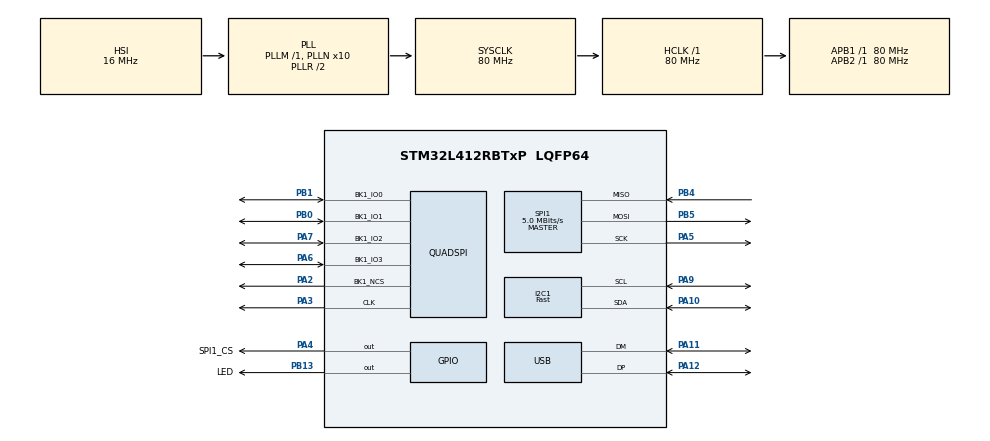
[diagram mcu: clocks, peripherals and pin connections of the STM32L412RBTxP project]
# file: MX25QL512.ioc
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I2C1.I2C_Speed_Mode=I2C_Fast
I2C1.Timing=0x00702991
Mcu.Family=STM32L4
Mcu.Name=STM32L412RBTxP
Mcu.Package=LQFP64
NVIC.PriorityGroup=NVIC_PRIORITYGROUP_4
NVIC.USB_IRQn=true\:0\:0\:false\:false\:true\:false\:true\:true
PA10.Mode=I2C
PA10.Signal=I2C1_SDA
PA11.Mode=Device
PA11.Signal=USB_DM
PA12.Mode=Device
PA12.Signal=USB_DP
PA13\ (JTMS/SWDIO).Mode=Trace_Asynchronous_SW
PA13\ (JTMS/SWDIO).Signal=SYS_JTMS-SWDIO
PA14\ (JTCK/SWCLK).Mode=Trace_Asynchronous_SW
PA14\ (JTCK/SWCLK).Signal=SYS_JTCK-SWCLK
PA2.Mode=Single Bank 1
PA2.Signal=QUADSPI_BK1_NCS
PA3.Mode=Single Bank 1
PA3.Signal=QUADSPI_CLK
PA4.GPIO_Label=SPI1_CS
PA4.GPIO_Speed=GPIO_SPEED_FREQ_HIGH
PA4.PinState=GPIO_PIN_SET
PA4.Signal=GPIO_Output
PA5.Mode=Full_Duplex_Master
PA5.Signal=SPI1_SCK
PA6.Mode=Single Bank 1
PA6.Signal=QUADSPI_BK1_IO3
PA7.Mode=Single Bank 1
PA7.Signal=QUADSPI_BK1_IO2
PA9.Mode=I2C
PA9.Signal=I2C1_SCL
PB0.Mode=Single Bank 1
PB0.Signal=QUADSPI_BK1_IO1
PB1.Mode=Single Bank 1
PB1.Signal=QUADSPI_BK1_IO0
PB13.GPIO_Label=LED
PB13.PinState=GPIO_PIN_SET
PB13.Signal=GPIO_Output
PB3\ (JTDO/TRACESWO).Mode=Trace_Asynchronous_SW
PB3\ (JTDO/TRACESWO).Signal=SYS_JTDO-SWO
PB4\ (NJTRST).Mode=Full_Duplex_Master
PB4\ (NJTRST).Signal=SPI1_MISO
PB5.Mode=Full_Duplex_Master
PB5.Signal=SPI1_MOSI
PC14-OSC32_IN\ (PC14).Mode=LSE-External-Oscillator
PC14-OSC32_IN\ (PC14).Signal=RCC_OSC32_IN
PC15-OSC32_OUT\ (PC15).Mode=LSE-External-Oscillator
PC15-OSC32_OUT\ (PC15).Signal=RCC_OSC32_OUT
PH0-OSC_IN\ (PH0).Mode=HSE-External-Oscillator
PH0-OSC_IN\ (PH0).Signal=RCC_OSC_IN
PH1-OSC_OUT\ (PH1).Mode=HSE-External-Oscillator
PH1-OSC_OUT\ (PH1).Signal=RCC_OSC_OUT
ProjectManager.HeapSize=0x200
ProjectManager.StackSize=0x400
ProjectManager.TargetToolchain=STM32CubeIDE
QUADSPI.ChipSelectHighTime=QSPI_CS_HIGH_TIME_1_CYCLE
QUADSPI.ClockPrescaler=0
QUADSPI.FifoThreshold=4
QUADSPI.FlashSize=25
QUADSPI.SampleShifting=QSPI_SAMPLE_SHIFTING_HALFCYCLE
RCC.ADCFreq_Value=80000000
RCC.AHBFreq_Value=80000000
RCC.APB1Freq_Value=80000000
RCC.APB1TimFreq_Value=80000000
RCC.APB2Freq_Value=80000000
RCC.APB2TimFreq_Value=80000000
RCC.CortexFreq_Value=80000000
RCC.HCLKFreq_Value=80000000
RCC.HSE_VALUE=8000000
RCC.HSI48_VALUE=48000000
RCC.HSI_VALUE=16000000
RCC.MSIClockRange=RCC_MSIRANGE_11
RCC.MSI_VALUE=48000000
RCC.PLLN=10
RCC.PLLSourceVirtual=RCC_PLLSOURCE_HSI
RCC.SYSCLKFreq_VALUE=80000000
RCC.SYSCLKSource=RCC_SYSCLKSOURCE_PLLCLK
RCC.USBFreq_Value=48000000
RCC.VCOOutputFreq_Value=160000000
SPI1.BaudRatePrescaler=SPI_BAUDRATEPRESCALER_16
SPI1.CLKPhase=SPI_PHASE_2EDGE
SPI1.CLKPolarity=SPI_POLARITY_HIGH
SPI1.CalculateBaudRate=5.0 MBits/s
SPI1.DataSize=SPI_DATASIZE_8BIT
SPI1.Direction=SPI_DIRECTION_2LINES
SPI1.Mode=SPI_MODE_MASTER
SPI1.VirtualType=VM_MASTER
USB_DEVICE.CLASS_NAME_FS=CDC
USB_DEVICE.VirtualMode=Cdc
USB_DEVICE.VirtualModeFS=Cdc_FS
VP_RTC_VS_RTC_Activate.Mode=RTC_Enabled
VP_RTC_VS_RTC_Calendar.Mode=RTC_Calendar
VP_USB_DEVICE_VS_USB_DEVICE_CDC_FS.Mode=CDC_FS
board=custom

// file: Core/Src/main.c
/* USER CODE BEGIN Header */
/**
  ******************************************************************************
  * @file           : main.c
  * @brief          : Main program body
  ******************************************************************************
  * @attention
  *
  * Copyright (c) 2023 STMicroelectronics.
  * All rights reserved.
  *
  * This software is licensed under terms that can be found in the LICENSE file
  * in the root directory of this software component.
  * If no LICENSE file comes with this software, it is provided AS-IS.
  *
  ******************************************************************************
  */
/* USER CODE END Header */
#include "main.h"
#include "i2c.h"
#include "quadspi.h"
#include "rtc.h"
#include "spi.h"
#include "usb_device.h"
#include "gpio.h"

/* USER CODE BEGIN Includes */
#include "icm20948.h"       // Driver for ICM20948 IMU (Inertial Measurement Unit)
#include "time.h"           // Time related functions
#include "usbd_cdc_if.h"    // USB CDC (Communication Device Class) interface functions
#include <string.h>
#include <stdio.h>
#include <stdbool.h>
/* USER CODE END Includes */

/* USER CODE BEGIN PD */
#define SRAM_BUFFER_SIZE 10
#define SAMPLES_PER_PAGE 11 //(MEMORY_PAGE_SIZE / sizeof(IMU_Dat))    //Calculating the number of samples per page
#define QSPI_START_ADDRESS 0x0 // Starting address for QSPI write
/* USER CODE END PD */

/* USER CODE BEGIN PV */
axises my_gyro;
axises my_accel;
axises my_mag;

typedef struct {
    time_data time_info;
    icm_20948_data sensor_data;
} combined_data;

RTC_TimeTypeDef sTime = {0};
RTC_DateTypeDef sDate = {0};

int current_index = 0;
uint32_t lastErasedSector = 0x0;

NMEA_Result NMEA_result;
/* USER CODE END PV */

void SystemClock_Config(void);
/* USER CODE BEGIN PFP */
bool is_SRAM_full(void);
void fill_SRAM_with_mock_data(void);
void batch_read_from_QSPI(IMU_Data* buffer, uint32_t startAddress, uint32_t numSamples);
void batch_write_to_QSPI(IMU_Data* buffer, uint32_t startAddress, uint32_t numSamples);
/* USER CODE END PFP */

/* USER CODE BEGIN 0 */
#include <string.h>
#define SECTORS_COUNT 100
/* USER CODE END 0 */

int main(void)
{
  /* USER CODE BEGIN 1 */
    //initialize organized data: time data+ IMU sensor data
	combined_data dataToSend;
	//get starttime in order to get elapsed time
	uint32_t startTime = HAL_GetTick();
  /* USER CODE END 1 */

  /* MCU Configuration--------------------------------------------------------*/

  /* Reset of all peripherals, Initializes the Flash interface and the Systick. */
  HAL_Init();

  /* Configure the system clock */
  SystemClock_Config();

  /* Initialize all configured peripherals */
  MX_GPIO_Init();
  MX_QUADSPI_Init();
  MX_RTC_Init();
  MX_SPI1_Init();
  MX_USB_DEVICE_Init();
  MX_I2C1_Init();
  /* USER CODE BEGIN 2 */
  //initialize ICM gyroscope, accelerometer and magnetometer peripherals and configuration
  icm20948_init();
  ak09916_init();

  CSP_QUADSPI_Init();

  if (CSP_QUADSPI_Init() != HAL_OK)
     {
      Error_Handler();
     }

  if (CSP_QSPI_Erase_Chip() != HAL_OK)
     {
      Error_Handler();
     }
  /* USER CODE END 2 */

  /* Infinite loop */
  /* USER CODE BEGIN WHILE */
  while (1)
  {
	// This segment fetches sensor data, combines it with time information,
    // formats it into a specific string format, and sends it over USB.
	  dataToSend.time_info = read_time(startTime);  // Assume you already have the read_time function
	  dataToSend.sensor_data = read_all_data();     // Assume you have modified the read_all_data function as previously indicated

	  char buffer[512]; // suppose 512 bytes is big enough
	 // Creating a formatted string from the combined time and sensor data
	  sprintf(buffer,
			  "#%u&" //unix timestamp
			  "%04d-%02d-%02d %02d:%02d:%02d&" // utc_timestamp
			  "%04d-%02d-%02d %02d:%02d:%02d&" //
			  "%02u:%02u&"//
			  "x_accel = %f/y_accel = %f/z_accel = %f&"
			  "x_gyro = %f/y_gyro = %f/z_gyro =  %f&"
			  "x_mag = %f/y_mag = %f/z_mag = %f&\r\n",
			  dataToSend.time_info.unix_timestamp,

			  dataToSend.time_info.utc_time.year,
			  dataToSend.time_info.utc_time.month,
			  dataToSend.time_info.utc_time.date,
			  dataToSend.time_info.utc_time.hour,
			  dataToSend.time_info.utc_time.min,
			  dataToSend.time_info.utc_time.sec,

			  dataToSend.time_info.uk_time.year,
			  dataToSend.time_info.uk_time.month,
			  dataToSend.time_info.uk_time.date,
			  dataToSend.time_info.uk_time.hour,
			  dataToSend.time_info.uk_time.min,
			  dataToSend.time_info.uk_time.sec,

			  dataToSend.time_info.elapsed_minutes, dataToSend.time_info.elapsed_seconds,

			  dataToSend.sensor_data.x_accel,
			  dataToSend.sensor_data.y_accel,
			  dataToSend.sensor_data.z_accel,

			  dataToSend.sensor_data.x_gyro,
			  dataToSend.sensor_data.y_gyro,
			  dataToSend.sensor_data.z_gyro,

			  dataToSend.sensor_data.x_magnet,
			  dataToSend.sensor_data.y_magnet,
			  dataToSend.sensor_data.z_magnet

	  );
     //transmit to the USB VCP
	  CDC_Transmit_FS(buffer, strlen(buffer));
    /* USER CODE END WHILE */

    /* USER CODE BEGIN 3 */
      // Check if the SRAM is full, if yes, transfer data to QSPI Flash,
      // otherwise continue to fill the SRAM with mock data.
	if (is_SRAM_full()) {
        	            transfer_data_to_QSPI_Flash();
        	 } else {
        	            fill_SRAM_with_mock_data();
        	 }
  }
  /* USER CODE END 3 */
}

void SystemClock_Config(void)
{
  RCC_OscInitTypeDef RCC_OscInitStruct = {0};
  RCC_ClkInitTypeDef RCC_ClkInitStruct = {0};

  /** Configure the main internal regulator output voltage
  */
  if (HAL_PWREx_ControlVoltageScaling(PWR_REGULATOR_VOLTAGE_SCALE1) != HAL_OK)
  {
    Error_Handler();
  }

  /** Configure LSE Drive Capability
  */
  HAL_PWR_EnableBkUpAccess();
  __HAL_RCC_LSEDRIVE_CONFIG(RCC_LSEDRIVE_LOW);

  /** Initializes the RCC Oscillators according to the specified parameters
  * in the RCC_OscInitTypeDef structure.
  */
  RCC_OscInitStruct.OscillatorType = RCC_OSCILLATORTYPE_HSI|RCC_OSCILLATORTYPE_LSI
                              |RCC_OSCILLATORTYPE_LSE|RCC_OSCILLATORTYPE_MSI;
  RCC_OscInitStruct.LSEState = RCC_LSE_ON;
  RCC_OscInitStruct.HSIState = RCC_HSI_ON;
  RCC_OscInitStruct.HSICalibrationValue = RCC_HSICALIBRATION_DEFAULT;
  RCC_OscInitStruct.LSIState = RCC_LSI_ON;
  RCC_OscInitStruct.MSIState = RCC_MSI_ON;
  RCC_OscInitStruct.MSICalibrationValue = 0;
  RCC_OscInitStruct.MSIClockRange = RCC_MSIRANGE_11;
  RCC_OscInitStruct.PLL.PLLState = RCC_PLL_ON;
  RCC_OscInitStruct.PLL.PLLSource = RCC_PLLSOURCE_HSI;
  RCC_OscInitStruct.PLL.PLLM = 1;
  RCC_OscInitStruct.PLL.PLLN = 10;
  RCC_OscInitStruct.PLL.PLLQ = RCC_PLLQ_DIV2;
  RCC_OscInitStruct.PLL.PLLR = RCC_PLLR_DIV2;
  if (HAL_RCC_OscConfig(&RCC_OscInitStruct) != HAL_OK)
  {
    Error_Handler();
  }

  /** Initializes the CPU, AHB and APB buses clocks
  */
  RCC_ClkInitStruct.ClockType = RCC_CLOCKTYPE_HCLK|RCC_CLOCKTYPE_SYSCLK
                              |RCC_CLOCKTYPE_PCLK1|RCC_CLOCKTYPE_PCLK2;
  RCC_ClkInitStruct.SYSCLKSource = RCC_SYSCLKSOURCE_PLLCLK;
  RCC_ClkInitStruct.AHBCLKDivider = RCC_SYSCLK_DIV1;
  RCC_ClkInitStruct.APB1CLKDivider = RCC_HCLK_DIV1;
  RCC_ClkInitStruct.APB2CLKDivider = RCC_HCLK_DIV1;

  if (HAL_RCC_ClockConfig(&RCC_ClkInitStruct, FLASH_LATENCY_4) != HAL_OK)
  {
    Error_Handler();
  }

  /** Enable MSI Auto calibration
  */
  HAL_RCCEx_EnableMSIPLLMode();
}

/* USER CODE BEGIN 4 */
int _write(int file, char *ptr, int len)
{
	int DataIdx;

	for (DataIdx = 0; DataIdx < len; DataIdx++)
	{
		ITM_SendChar(*ptr++);
	}
	return len;
}

/**
  * @brief Writes batches of IMU data to the QSPI flash memory.
  * @param buffer: Pointer to the buffer containing the IMU data to be written.
  * @param startAddress: The starting address in the QSPI flash memory to write the data.
  * @param numSamples: Number of IMU samples to be written.
  */
void batch_write_to_QSPI(IMU_Data* buffer, uint32_t startAddress, uint32_t numSamples) {
    uint32_t numPages = (numSamples + SAMPLES_PER_PAGE - 1) / SAMPLES_PER_PAGE;
    uint32_t endAddress = startAddress + numPages * MEMORY_PAGE_SIZE;

    for (uint32_t pageIndex = 0; pageIndex < numPages; pageIndex++) {
        uint32_t address = startAddress + pageIndex * MEMORY_PAGE_SIZE;
        uint32_t samplesToWrite = (pageIndex == numPages - 1) ? (numSamples % SAMPLES_PER_PAGE) : SAMPLES_PER_PAGE;

        // Check if a new sector is entered
        if ((address / MEMORY_SECTOR_SIZE) != lastErasedSector) {
            // Erase the new sector
            if (CSP_QSPI_EraseSector(address, address + MEMORY_SECTOR_SIZE) != HAL_OK) {
                Error_Handler();
            }
            // Update the last erased sector marker
            lastErasedSector = address / MEMORY_SECTOR_SIZE;
        }

        if (CSP_QSPI_WriteMemory((uint8_t*)&buffer[pageIndex * SAMPLES_PER_PAGE], address, samplesToWrite * sizeof(IMU_Data)) != HAL_OK) {
            Error_Handler();
        }

        HAL_Delay(10);  // Delay to ensure completion of write operation
    }
}

/**
  * @brief Reads batches of IMU data from the QSPI flash memory.
  * @param buffer: Pointer to the buffer where the IMU data will be stored after reading.
  * @param startAddress: The starting address in the QSPI flash memory from where the data will be read.
  * @param numSamples: Number of IMU samples to be read.
  */
void batch_read_from_QSPI(IMU_Data* buffer, uint32_t startAddress, uint32_t numSamples) {
    uint32_t numPages = (numSamples + SAMPLES_PER_PAGE - 1) / SAMPLES_PER_PAGE;

    for (uint32_t pageIndex = 0; pageIndex < numPages; pageIndex++) {
        uint32_t address = startAddress + pageIndex * MEMORY_PAGE_SIZE ;
        uint32_t samplesToRead = (pageIndex == numPages - 1) ? (numSamples % SAMPLES_PER_PAGE) : SAMPLES_PER_PAGE;

        if (CSP_QSPI_Read((uint8_t*)&buffer[pageIndex * SAMPLES_PER_PAGE], address, samplesToRead * sizeof(IMU_Data)) != HAL_OK) {
            Error_Handler();
        }
    }
}

/**
  * @brief Checks if the SRAM buffer is full.
  * @return Returns 'true' if the SRAM buffer is full, otherwise 'false'.
  */
bool is_SRAM_full() {
    return current_index >= SRAM_BUFFER_SIZE;
}

/* USER CODE END 4 */

void Error_Handler(void)
{
  __disable_irq();
  while (1)
  {
  }
}
